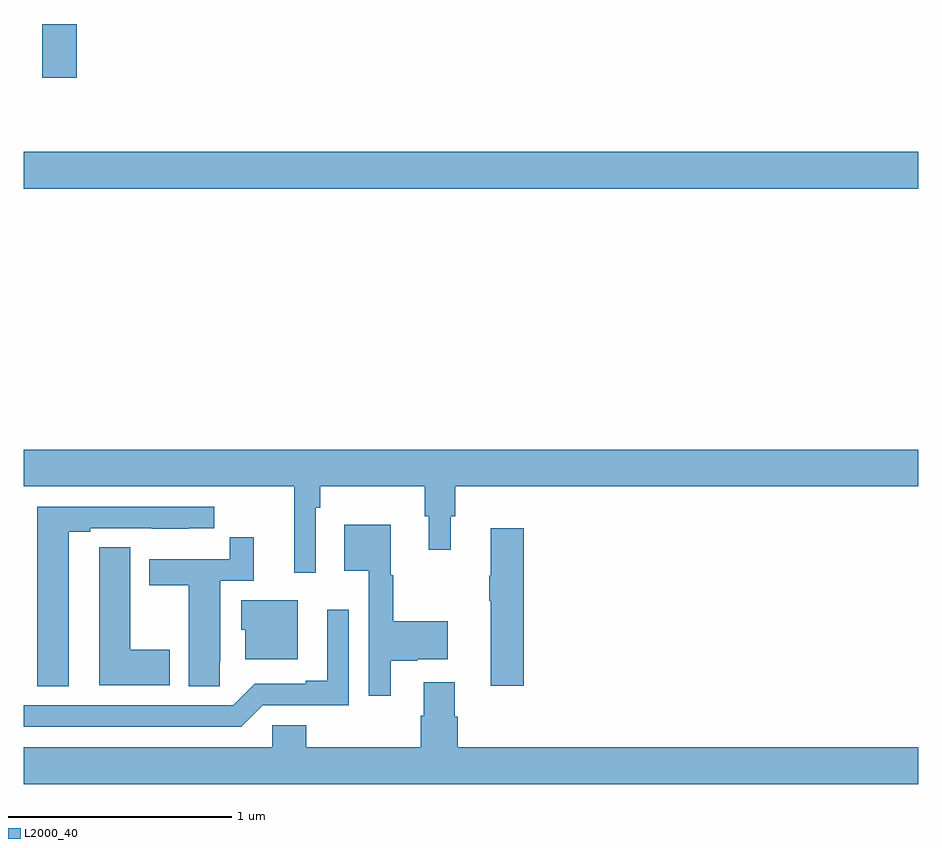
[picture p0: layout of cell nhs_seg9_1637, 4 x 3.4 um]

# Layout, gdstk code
import gdstk
lib = gdstk.Library(unit=1e-6, precision=1e-09)
def R(c, l, rs):  # rectangles x0, y0, x1, y1
    for r in rs: c.add(gdstk.rectangle(r[:2], r[2:], *l))
def P(c, l, *ps):  # polygons
    for p in ps: c.add(gdstk.Polygon(p, *l))
L2000_40 = (2000, 40)

nhs_seg9_1637 = lib.new_cell('nhs_seg9_1637')
R(nhs_seg9_1637, L2000_40, [(203,1185.764,207,1185.928), (203.083,1186.26,203.237,1186.5)])
P(nhs_seg9_1637, L2000_40, [(204.306,1184.336),(204.326,1184.336),(204.326,1184.432),(204.793,1184.432),(204.793,1184.298),(204.812,1184.298),(204.812,1184.148),(204.91,1184.148),(204.91,1184.298),(204.929,1184.298),(204.929,1184.432),(207,1184.432),(207,1184.596),(203,1184.596),(203,1184.432),(204.209,1184.432),(204.209,1184.046),(204.306,1184.046)],
  [(203.2,1184.229),(203.296,1184.229),(203.296,1184.244),(203.572,1184.244),(203.572,1184.243),(203.738,1184.243),(203.738,1184.244),(203.851,1184.244),(203.851,1184.34),(203.06,1184.34),(203.06,1183.537),(203.2,1183.537)],
  [(204.64,1183.651),(204.759,1183.651),(204.759,1183.658),(204.895,1183.658),(204.895,1183.829),(204.652,1183.829),(204.652,1184.034),(204.64,1184.034),(204.64,1184.26),(204.434,1184.26),(204.434,1184.054),(204.543,1184.054),(204.543,1183.494),(204.64,1183.494)],
  [(205.235,1184.245),(205.088,1184.245),(205.088,1184.032),(205.081,1184.032),(205.081,1183.92),(205.088,1183.92),(205.088,1183.539),(205.235,1183.539)],
  [(203.877,1183.648),(203.878,1183.648),(203.878,1184.01),(204.029,1184.01),(204.029,1184.203),(203.92,1184.203),(203.92,1184.106),(203.561,1184.106),(203.561,1183.99),(203.738,1183.99),(203.738,1183.537),(203.877,1183.537)],
  [(203.653,1183.701),(203.476,1183.701),(203.476,1184.159),(203.337,1184.159),(203.337,1184.051),(203.336,1184.051),(203.336,1183.541),(203.653,1183.541)],
  [(204.226,1183.921),(203.972,1183.921),(203.972,1183.791),(203.99,1183.791),(203.99,1183.658),(204.226,1183.658)],
  [(204.069,1183.452),(204.453,1183.452),(204.453,1183.879),(204.356,1183.879),(204.356,1183.561),(204.26,1183.561),(204.26,1183.548),(204.033,1183.548),(203.937,1183.452),(203,1183.452),(203,1183.356),(203.973,1183.356)],
  [(207,1183.264),(204.941,1183.264),(204.941,1183.401),(204.928,1183.401),(204.928,1183.555),(204.788,1183.555),(204.788,1183.406),(204.776,1183.406),(204.776,1183.264),(204.263,1183.264),(204.263,1183.362),(204.111,1183.362),(204.111,1183.264),(203,1183.264),(203,1183.1),(207,1183.1)])

lib.write_gds('nhs_seg9_1637.gds')
